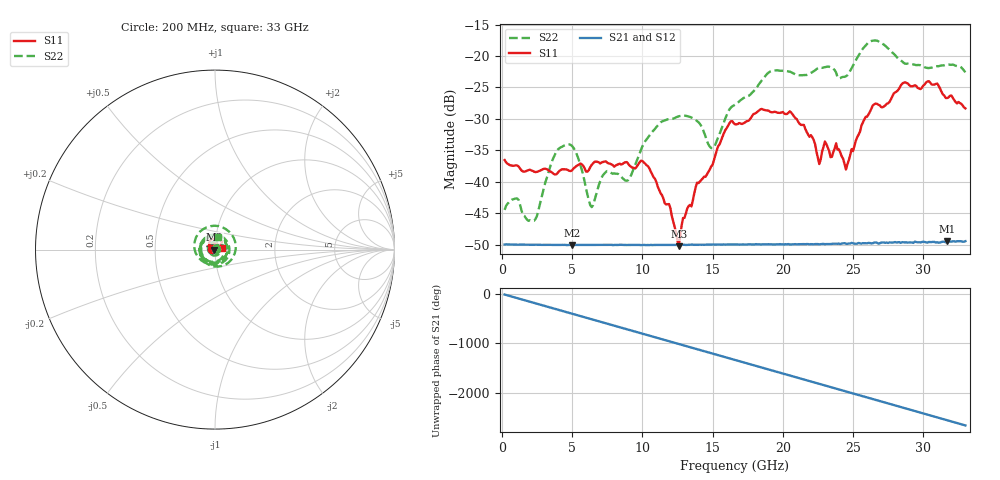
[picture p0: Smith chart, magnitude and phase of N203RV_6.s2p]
# GHZ S RI R 50
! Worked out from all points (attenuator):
!   329 points, 200 MHz to 33 GHz, reference 50 ohm
!   highest |S21| = -49.45 dB at 31.7 GHz (marker M1); lowest = -50.1 dB at 5 GHz (marker M2)
!   lowest |S11| = -50.2 dB at 12.6 GHz (marker M3), VSWR 1.01, Z = 49.7 + j0.0219 ohm
!   |S11| at or under -10 dB: start of sweep to end of sweep
!   |S22| runs from -46.2 to -17.5 dB; largest |S21 - S12| = 7.2e-05
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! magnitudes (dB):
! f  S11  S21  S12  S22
! 200 MHz  -36.5  -50.0  -49.9  -44.5
! 2.3 GHz  -38.4  -50.0  -50.0  -46.2
! 3.8 GHz  -38.8  -50.1  -50.0  -35.6
! 5 GHz  -38.2  -50.1  -50.0  -34.3
! 5.7 GHz  -37.2  -50.0  -50.0  -38.1
! 6.4 GHz  -37.3  -50.0  -50.0  -44.0
! 10 GHz  -36.7  -50.1  -50.1  -34.4
! 11.2 GHz  -41.3  -50.0  -50.0  -30.8
! 12.6 GHz  -50.2  -50.1  -50.0  -29.6
! 13.9 GHz  -40.1  -50.0  -50.0  -30.3
! 15 GHz  -37.3  -50.0  -50.0  -34.7
! 16.6 GHz  -30.9  -50.0  -50.0  -27.7
! 20.5 GHz  -28.8  -50.0  -49.9  -22.5
! 22.1 GHz  -32.9  -49.9  -49.9  -22.6
! 22.6 GHz  -37.2  -50.0  -49.9  -21.8
! 23.8 GHz  -33.9  -49.9  -49.8  -22.6
! 24.5 GHz  -38.1  -49.9  -49.8  -23.2
! 26.4 GHz  -27.9  -49.8  -49.7  -17.6
! 27.6 GHz  -27.3  -49.6  -49.7  -19.0
! 28.7 GHz  -24.2  -49.6  -49.6  -21.2
! 31.7 GHz  -26.7  -49.5  -49.6  -21.3
! 33 GHz  -28.3  -49.5  -49.5  -22.6
